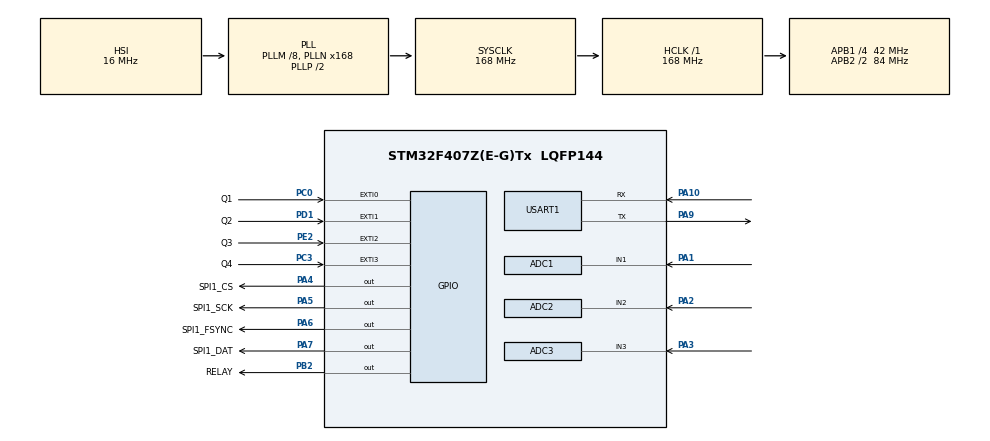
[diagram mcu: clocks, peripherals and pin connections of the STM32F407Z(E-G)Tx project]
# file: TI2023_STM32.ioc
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ADC1.Channel-0\#ChannelRegularConversion=ADC_CHANNEL_1
ADC1.DMAContinuousRequests=ENABLE
ADC1.ExternalTrigConv=ADC_EXTERNALTRIGCONV_T2_CC2
ADC1.NbrOfConversionFlag=1
ADC1.Rank-0\#ChannelRegularConversion=1
ADC1.SamplingTime-0\#ChannelRegularConversion=ADC_SAMPLETIME_3CYCLES
ADC1.master=1
ADC2.Channel-0\#ChannelRegularConversion=ADC_CHANNEL_2
ADC2.DMAContinuousRequests=ENABLE
ADC2.ExternalTrigConv=ADC_EXTERNALTRIGCONV_T2_CC2
ADC2.NbrOfConversionFlag=1
ADC2.Rank-0\#ChannelRegularConversion=1
ADC2.SamplingTime-0\#ChannelRegularConversion=ADC_SAMPLETIME_3CYCLES
ADC3.Channel-0\#ChannelRegularConversion=ADC_CHANNEL_3
ADC3.DMAContinuousRequests=ENABLE
ADC3.ExternalTrigConv=ADC_EXTERNALTRIGCONV_T2_CC2
ADC3.NbrOfConversionFlag=1
ADC3.Rank-0\#ChannelRegularConversion=1
ADC3.SamplingTime-0\#ChannelRegularConversion=ADC_SAMPLETIME_3CYCLES
Dma.ADC1.0.Direction=DMA_PERIPH_TO_MEMORY
Dma.ADC1.0.FIFOMode=DMA_FIFOMODE_DISABLE
Dma.ADC1.0.Instance=DMA2_Stream0
Dma.ADC1.0.MemDataAlignment=DMA_MDATAALIGN_HALFWORD
Dma.ADC1.0.MemInc=DMA_MINC_ENABLE
Dma.ADC1.0.Mode=DMA_CIRCULAR
Dma.ADC1.0.PeriphDataAlignment=DMA_PDATAALIGN_HALFWORD
Dma.ADC1.0.PeriphInc=DMA_PINC_DISABLE
Dma.ADC1.0.Priority=DMA_PRIORITY_LOW
Dma.ADC2.1.Direction=DMA_PERIPH_TO_MEMORY
Dma.ADC2.1.FIFOMode=DMA_FIFOMODE_DISABLE
Dma.ADC2.1.Instance=DMA2_Stream2
Dma.ADC2.1.MemDataAlignment=DMA_MDATAALIGN_HALFWORD
Dma.ADC2.1.MemInc=DMA_MINC_ENABLE
Dma.ADC2.1.Mode=DMA_CIRCULAR
Dma.ADC2.1.PeriphDataAlignment=DMA_PDATAALIGN_HALFWORD
Dma.ADC2.1.PeriphInc=DMA_PINC_DISABLE
Dma.ADC2.1.Priority=DMA_PRIORITY_LOW
Dma.ADC3.2.Direction=DMA_PERIPH_TO_MEMORY
Dma.ADC3.2.FIFOMode=DMA_FIFOMODE_DISABLE
Dma.ADC3.2.Instance=DMA2_Stream1
Dma.ADC3.2.MemDataAlignment=DMA_MDATAALIGN_HALFWORD
Dma.ADC3.2.MemInc=DMA_MINC_ENABLE
Dma.ADC3.2.Mode=DMA_CIRCULAR
Dma.ADC3.2.PeriphDataAlignment=DMA_PDATAALIGN_HALFWORD
Dma.ADC3.2.PeriphInc=DMA_PINC_DISABLE
Dma.ADC3.2.Priority=DMA_PRIORITY_LOW
Dma.Request0=ADC1
Dma.Request1=ADC2
Dma.Request2=ADC3
Mcu.Family=STM32F4
Mcu.Name=STM32F407Z(E-G)Tx
Mcu.Package=LQFP144
NVIC.DMA2_Stream0_IRQn=true\:0\:0\:false\:false\:true\:false\:true\:true
NVIC.DMA2_Stream1_IRQn=true\:0\:0\:false\:false\:true\:false\:true\:true
NVIC.DMA2_Stream2_IRQn=true\:0\:0\:false\:false\:true\:false\:true\:true
NVIC.EXTI0_IRQn=true\:0\:0\:false\:false\:true\:true\:true\:true
NVIC.EXTI1_IRQn=true\:0\:0\:false\:false\:true\:true\:true\:true
NVIC.EXTI2_IRQn=true\:0\:0\:false\:false\:true\:true\:true\:true
NVIC.EXTI3_IRQn=true\:0\:0\:false\:false\:true\:true\:true\:true
NVIC.PriorityGroup=NVIC_PRIORITYGROUP_4
NVIC.USART1_IRQn=true\:0\:0\:false\:false\:true\:true\:true\:true
PA1.Signal=ADCx_IN1
PA10.Mode=Asynchronous
PA10.Signal=USART1_RX
PA13.Mode=Serial_Wire
PA13.Signal=SYS_JTMS-SWDIO
PA14.Mode=Serial_Wire
PA14.Signal=SYS_JTCK-SWCLK
PA2.Signal=ADCx_IN2
PA3.Signal=ADCx_IN3
PA4.GPIO_Label=SPI1_CS
PA4.GPIO_Speed=GPIO_SPEED_FREQ_VERY_HIGH
PA4.PinState=GPIO_PIN_SET
PA4.Signal=GPIO_Output
PA5.GPIO_Label=SPI1_SCK
PA5.GPIO_Speed=GPIO_SPEED_FREQ_VERY_HIGH
PA5.Signal=GPIO_Output
PA6.GPIO_Label=SPI1_FSYNC
PA6.GPIO_Speed=GPIO_SPEED_FREQ_VERY_HIGH
PA6.PinState=GPIO_PIN_SET
PA6.Signal=GPIO_Output
PA7.GPIO_Label=SPI1_DAT
PA7.GPIO_Speed=GPIO_SPEED_FREQ_VERY_HIGH
PA7.Signal=GPIO_Output
PA9.Mode=Asynchronous
PA9.Signal=USART1_TX
PB2.GPIO_Label=RELAY
PB2.Signal=GPIO_Output
PC0.GPIO_Label=Q1
PC0.GPIO_PuPd=GPIO_PULLDOWN
PC0.Signal=GPXTI0
PC14-OSC32_IN.Mode=LSE-External-Oscillator
PC14-OSC32_IN.Signal=RCC_OSC32_IN
PC15-OSC32_OUT.Mode=LSE-External-Oscillator
PC15-OSC32_OUT.Signal=RCC_OSC32_OUT
PC3.GPIO_Label=Q4
PC3.GPIO_PuPd=GPIO_PULLDOWN
PC3.Signal=GPXTI3
PD1.GPIO_Label=Q2
PD1.GPIO_PuPd=GPIO_PULLDOWN
PD1.Signal=GPXTI1
PE2.GPIO_Label=Q3
PE2.GPIO_PuPd=GPIO_PULLDOWN
PE2.Signal=GPXTI2
PH0-OSC_IN.Mode=HSE-External-Oscillator
PH0-OSC_IN.Signal=RCC_OSC_IN
PH1-OSC_OUT.Mode=HSE-External-Oscillator
PH1-OSC_OUT.Signal=RCC_OSC_OUT
ProjectManager.HeapSize=0x200
ProjectManager.StackSize=0x1000
ProjectManager.TargetToolchain=MDK-ARM V5.32
RCC.48MHZClocksFreq_Value=84000000
RCC.AHBFreq_Value=168000000
RCC.APB1CLKDivider=RCC_HCLK_DIV4
RCC.APB1Freq_Value=42000000
RCC.APB1TimFreq_Value=84000000
RCC.APB2CLKDivider=RCC_HCLK_DIV2
RCC.APB2Freq_Value=84000000
RCC.APB2TimFreq_Value=168000000
RCC.CortexFreq_Value=168000000
RCC.HCLKFreq_Value=168000000
RCC.HSE_VALUE=8000000
RCC.HSI_VALUE=16000000
RCC.PLLM=8
RCC.PLLN=168
RCC.SYSCLKFreq_VALUE=168000000
RCC.SYSCLKSource=RCC_SYSCLKSOURCE_PLLCLK
RCC.VCOOutputFreq_Value=336000000
SH.ADCx_IN1.0=ADC1_IN1,IN1
SH.ADCx_IN2.0=ADC2_IN2,IN2
SH.ADCx_IN3.0=ADC3_IN3,IN3
TIM2.AutoReloadPreload=TIM_AUTORELOAD_PRELOAD_ENABLE
TIM2.Channel-PWM\ Generation2\ No\ Output=TIM_CHANNEL_2
TIM5.AutoReloadPreload=TIM_AUTORELOAD_PRELOAD_ENABLE
USART1.VirtualMode=VM_ASYNC
VP_TIM2_VS_ClockSourceINT.Mode=Internal
VP_TIM2_VS_no_output2.Mode=PWM Generation2 No Output
VP_TIM5_VS_ClockSourceINT.Mode=Internal
board=custom

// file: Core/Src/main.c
/* USER CODE BEGIN Header */
/**
  ******************************************************************************
  * @file           : main.c
  * @brief          : Main program body
  ******************************************************************************
  * @attention
  *
  * Copyright (c) 2023 STMicroelectronics.
  * All rights reserved.
  *
  * This software is licensed under terms that can be found in the LICENSE file
  * in the root directory of this software component.
  * If no LICENSE file comes with this software, it is provided AS-IS.
  *
  ******************************************************************************
  */
/* USER CODE END Header */
#include "main.h"
#include "adc.h"
#include "dma.h"
#include "tim.h"
#include "usart.h"
#include "gpio.h"

/* USER CODE BEGIN Includes */
#include "AD9833.h"
#include "USART_HMI.h"
/* USER CODE END Includes */

/* USER CODE BEGIN PTD */
typedef struct
{
    float x;
    float y;
} Point;
/* USER CODE END PTD */

/* USER CODE BEGIN PV */
float a_watch, b_watch, c_watch;
float watch;
bool volatile conv_done = false;
bool enable_interrupt[4] = {false, false, false, false};
uint16_t adc1_values[ADC_DATA_NUM + 4];
uint16_t adc2_values[ADC_DATA_NUM + 4];
uint16_t adc3_values[ADC_DATA_NUM + 4];
volatile uint32_t quadrant_time_stamp[4];
static float tdoa_wanted[4] = {0, 0, 0, 0};

static uint16_t total_steps = 5;
static uint16_t steps = 10;
static uint16_t P_skip_num = 0;
static float MICROPHONE[4][2] = { {HALF_SQUARE, HALF_SQUARE},
                                  {-HALF_SQUARE, HALF_SQUARE},
                                  {-HALF_SQUARE, -HALF_SQUARE},
                                  {HALF_SQUARE, -HALF_SQUARE}};
static float POINT_DIST[4] = {0.0f, 0.0f, 0.0f, 0.0f};
static float CORRECT_POINT_DIST[4] = {0.0f, 0.0f, 0.0f, 0.0f};
static float G_VECTOR[4][2] = {{0.0f, 0.0f}, {0.0f, 0.0f}, {0.0f, 0.0f}, {0.0f, 0.0f}};
volatile uint32_t quadrant_time_stamp[4] = {0, 0, 0, 0};
bool volatile interrupt_dis[4] = {false, false, false, false};
static float pix, piy;
static float mpix, mpiy;
static Point receiver1 = {0.0f, 0.0f};
static Point receiver2 = {HALF_SQUARE * 2, 0.0f};
static Point receiver3 = {HALF_SQUARE * 2, HALF_SQUARE * 2};
int flag = 0;
int tims = 15;
/* USER CODE END PV */

void SystemClock_Config(void);
/* USER CODE BEGIN PFP */
static inline float dist(float p1x, float p1y, float p2x, float p2y);
static inline float norm(float px, float py);
static void Gradient_descent(uint8_t step);
static void Gradient_descent_wrapper(void);
static void Quadrant_Lattice_Indexing(void);
static void Magnet_Positioning(void);
static void Magnet_Indexing(void);
static void Magnet_Mode(void);
static Point calculateSourceLocation(Point receiver1, Point receiver2, Point receiver3, float tdoa1, float tdoa2, float tdoa3);
static uint16_t ADC_Get_Vpp(uint16_t* data);
/* USER CODE END PFP */

int main(void)
{

  /* MCU Configuration--------------------------------------------------------*/

  /* Reset of all peripherals, Initializes the Flash interface and the Systick. */
  HAL_Init();

  /* Configure the system clock */
  SystemClock_Config();

  /* Initialize all configured peripherals */
  MX_GPIO_Init();
  MX_DMA_Init();
  MX_ADC1_Init();
  MX_TIM2_Init();
  MX_USART1_UART_Init();
  MX_ADC2_Init();
  MX_ADC3_Init();
  MX_TIM5_Init();
  /* USER CODE BEGIN 2 */
  HAL_NVIC_DisableIRQ(EXTI1_IRQn);
  HAL_NVIC_DisableIRQ(EXTI2_IRQn);
  HAL_NVIC_DisableIRQ(EXTI3_IRQn);
  HAL_NVIC_DisableIRQ(EXTI0_IRQn);
  __HAL_GPIO_EXTI_CLEAR_IT(GPIO_PIN_1);__HAL_GPIO_EXTI_CLEAR_IT(GPIO_PIN_2);__HAL_GPIO_EXTI_CLEAR_IT(GPIO_PIN_3);__HAL_GPIO_EXTI_CLEAR_IT(GPIO_PIN_0);
  SWITCH_INT_ON;
  RELAY_DELAY;
  UARTHMI_Forget_It();
	UARTHMI_Reset();
  HAL_TIM_Base_Start_IT(&htim2);
	HAL_ADC_Start_DMA(&hadc1, (uint32_t*)adc1_values, ADC_DATA_NUM + 4);
	HAL_ADC_Start_DMA(&hadc2, (uint32_t*)adc2_values, ADC_DATA_NUM + 4);
	HAL_ADC_Start_DMA(&hadc3, (uint32_t*)adc3_values, ADC_DATA_NUM + 4);
	AD9833_WaveSeting_Double(0,0,SIN_WAVE,985);
	HAL_Delay(150);
//		__HAL_GPIO_EXTI_CLEAR_IT(GPIO_PIN_1);__HAL_GPIO_EXTI_CLEAR_IT(GPIO_PIN_2);__HAL_GPIO_EXTI_CLEAR_IT(GPIO_PIN_3);__HAL_GPIO_EXTI_CLEAR_IT(GPIO_PIN_0);
  /* USER CODE END 2 */

  /* Infinite loop */
  while (1)
  {

    /* USER CODE BEGIN 3 */
	  if (sweep_freq)
    {
      htim5.Instance->CNT = 0;
      HAL_TIM_Base_Start(&htim5);
      tims = 15;
      SWITCH_DDS_ON;
      RELAY_DELAY;
      while(1)
      {
        if (htim5.Instance->CNT >= 84000000 && (!sound_trace && !magnet_trace))
        {
    //        AD9833_Default_Set(i * 1000);
          AD9833_WaveSeting_Double(tims * 1000,0,SIN_WAVE,985);
          ++tims;
          if (tims == 21)
          {
            tims = 15;
          }
          htim5.Instance->CNT = 0;
        }
        else if (sound_trace | magnet_trace)
        {
			AD9833_WaveSeting_Double(0,0,SIN_WAVE,985);
          HAL_TIM_Base_Stop(&htim5);
          htim5.Instance->CNT = 0;
          break;
        }

      }

//      AD9833_Set_Amplitude(0);
//	  AD9833_Default_Set(0);
      SWITCH_INT_ON;
      RELAY_DELAY;
      sweep_freq = false;
    }
    else if (sound_trace)
    {
		if ((HAL_GPIO_ReadPin(Q1_GPIO_Port, Q1_Pin) == GPIO_PIN_SET) | (HAL_GPIO_ReadPin(Q2_GPIO_Port, Q2_Pin) == GPIO_PIN_SET) | (HAL_GPIO_ReadPin(Q3_GPIO_Port, Q3_Pin) == GPIO_PIN_SET) | (HAL_GPIO_ReadPin(Q4_GPIO_Port, Q4_Pin) == GPIO_PIN_SET))
		{
			SWITCH_DDS_ON;
			RELAY_DELAY;
			RELAY_DELAY;
			SWITCH_INT_ON;
			RELAY_DELAY;
			RELAY_DELAY;
		}
		else
		{
		printf("page page0\xff\xff\xff");
      __HAL_TIM_SetCounter(&htim5, 0);
      HAL_TIM_Base_Start(&htim5);
		__HAL_GPIO_EXTI_CLEAR_IT(GPIO_PIN_1);
      HAL_NVIC_EnableIRQ(EXTI1_IRQn);
		__HAL_GPIO_EXTI_CLEAR_IT(GPIO_PIN_2);
      HAL_NVIC_EnableIRQ(EXTI2_IRQn);
		__HAL_GPIO_EXTI_CLEAR_IT(GPIO_PIN_3);
      HAL_NVIC_EnableIRQ(EXTI3_IRQn);
		__HAL_GPIO_EXTI_CLEAR_IT(GPIO_PIN_0);
      HAL_NVIC_EnableIRQ(EXTI0_IRQn);
		enable_interrupt[0] = __NVIC_GetEnableIRQ(EXTI0_IRQn);
	  enable_interrupt[1] = __NVIC_GetEnableIRQ(EXTI1_IRQn);
	  enable_interrupt[2] = __NVIC_GetEnableIRQ(EXTI2_IRQn);
	  enable_interrupt[3] = __NVIC_GetEnableIRQ(EXTI3_IRQn);
		if ((quadrant_time_stamp[0] < DELAY_MIN) && (!enable_interrupt[0]))
	  {
		  HAL_NVIC_EnableIRQ(EXTI0_IRQn);
		enable_interrupt[0] = 1;
	  }
	  if ((quadrant_time_stamp[1] < DELAY_MIN) && (!enable_interrupt[1]))
	  {
		  HAL_NVIC_EnableIRQ(EXTI1_IRQn);
		enable_interrupt[1] = 1;
	  }
	  if ((quadrant_time_stamp[2] < DELAY_MIN) && (!enable_interrupt[2]))
	  {
		  HAL_NVIC_EnableIRQ(EXTI2_IRQn);
		enable_interrupt[2] = 1;
	  }
	  if ((quadrant_time_stamp[3] < DELAY_MIN) && (!enable_interrupt[3]))
	  {
		  HAL_NVIC_EnableIRQ(EXTI3_IRQn);
		enable_interrupt[3] = 1;
	  }
      while (1)
      {
		  enable_interrupt[0] = __NVIC_GetEnableIRQ(EXTI0_IRQn);
		  enable_interrupt[1] = __NVIC_GetEnableIRQ(EXTI1_IRQn);
		  enable_interrupt[2] = __NVIC_GetEnableIRQ(EXTI2_IRQn);
		  enable_interrupt[3] = __NVIC_GetEnableIRQ(EXTI3_IRQn);
        if ((!(enable_interrupt[0] | enable_interrupt[1] | enable_interrupt[2] | enable_interrupt[3]))) //
        {
          Quadrant_Lattice_Indexing();
//			for (uint16_t i = 0; i < 4; ++i)
//			{
//				quadrant_time_stamp[i] = 0;
//			}
//          HAL_Delay(2000);
          break;
        }
      }
      HAL_TIM_Base_Stop(&htim5);
		}
      sound_trace = false;
    }
    else if (magnet_trace)
    {
      Magnet_Mode();
      magnet_trace = false;
    }

  }
  /* USER CODE END 3 */
}

void SystemClock_Config(void)
{
  RCC_OscInitTypeDef RCC_OscInitStruct = {0};
  RCC_ClkInitTypeDef RCC_ClkInitStruct = {0};

  /** Configure the main internal regulator output voltage
  */
  __HAL_RCC_PWR_CLK_ENABLE();
  __HAL_PWR_VOLTAGESCALING_CONFIG(PWR_REGULATOR_VOLTAGE_SCALE1);

  /** Initializes the RCC Oscillators according to the specified parameters
  * in the RCC_OscInitTypeDef structure.
  */
  RCC_OscInitStruct.OscillatorType = RCC_OSCILLATORTYPE_HSI;
  RCC_OscInitStruct.HSIState = RCC_HSI_ON;
  RCC_OscInitStruct.HSICalibrationValue = RCC_HSICALIBRATION_DEFAULT;
  RCC_OscInitStruct.PLL.PLLState = RCC_PLL_ON;
  RCC_OscInitStruct.PLL.PLLSource = RCC_PLLSOURCE_HSI;
  RCC_OscInitStruct.PLL.PLLM = 8;
  RCC_OscInitStruct.PLL.PLLN = 168;
  RCC_OscInitStruct.PLL.PLLP = RCC_PLLP_DIV2;
  RCC_OscInitStruct.PLL.PLLQ = 4;
  if (HAL_RCC_OscConfig(&RCC_OscInitStruct) != HAL_OK)
  {
    Error_Handler();
  }

  /** Initializes the CPU, AHB and APB buses clocks
  */
  RCC_ClkInitStruct.ClockType = RCC_CLOCKTYPE_HCLK|RCC_CLOCKTYPE_SYSCLK
                              |RCC_CLOCKTYPE_PCLK1|RCC_CLOCKTYPE_PCLK2;
  RCC_ClkInitStruct.SYSCLKSource = RCC_SYSCLKSOURCE_PLLCLK;
  RCC_ClkInitStruct.AHBCLKDivider = RCC_SYSCLK_DIV1;
  RCC_ClkInitStruct.APB1CLKDivider = RCC_HCLK_DIV4;
  RCC_ClkInitStruct.APB2CLKDivider = RCC_HCLK_DIV2;

  if (HAL_RCC_ClockConfig(&RCC_ClkInitStruct, FLASH_LATENCY_5) != HAL_OK)
  {
    Error_Handler();
  }
}

/* USER CODE BEGIN 4 */
static inline float dist(float p1x, float p1y, float p2x, float p2y)
{
  return sqrtf((p1x - p2x) * (p1x - p2x) + (p1y - p2y) * (p1y - p2y));
}

static inline float norm(float px, float py)
{
  return sqrtf(px * px + py * py);
}

static void Gradient_descent(uint8_t step)
{
  float sum = 0.0f, temp = 0.0f;
  float gradients_list[4][2] = {{0.0f, 0.0f}, {0.0f, 0.0f}, {0.0f, 0.0f}, {0.0f, 0.0f}};
  for (uint8_t i = 0; i < 4; ++i)
  {
    POINT_DIST[i] = (dist(pix, piy, MICROPHONE[i][0], MICROPHONE[i][1]) - dist(pix, piy, MICROPHONE[P_skip_num][0], MICROPHONE[P_skip_num][1])) - CORRECT_POINT_DIST[i] / CLK_FREQ * V_BOARD;
    sum += fabsf(POINT_DIST[i]);
  }
  for (uint8_t i = 0; i < 4; ++i)
  {
    POINT_DIST[i] /= sum;
    temp = steps * (1.0f - logf(1.0f + expf(step / 5.0f - 10.0f)) / 0.65f);
    gradients_list[i][0] = G_VECTOR[i][0] * POINT_DIST[i] * temp;
    gradients_list[i][1] = G_VECTOR[i][1] * POINT_DIST[i] * temp;
    pix += gradients_list[i][0];
    piy += gradients_list[i][1];
  }
  if (pix > LENGTH / 2)
  {
	pix = 125;
  }
  else if (pix < -LENGTH / 2)
  {
	pix = -125;
  }
  if (piy > LENGTH / 2)
  {
	piy = 125;
  }
  else if (piy < -LENGTH / 2)
  {
	piy = -125;
  }
}

static void Gradient_descent_wrapper(void)
{
	float norm_vec;
  for (uint8_t i = 0; i < 4; ++i)
  {
    G_VECTOR[i][0] = MICROPHONE[i][0] - MICROPHONE[P_skip_num][0];
    G_VECTOR[i][1] = MICROPHONE[i][1] - MICROPHONE[P_skip_num][1];
    if (i != P_skip_num)
    {
		norm_vec = norm(G_VECTOR[i][0], G_VECTOR[i][1]);
      G_VECTOR[i][0] /= norm_vec * sqrtf(3.0f);
      G_VECTOR[i][1] /= norm_vec * sqrtf(3.0f);
    }
  }
  for (uint8_t i = 0; i < total_steps; ++i)
  {
    Gradient_descent(i);
  }
}

static void Quadrant_Lattice_Indexing(void)
{
  int8_t x_index, y_index;
	float temp_x_y;
  uint32_t min = quadrant_time_stamp[0];
	P_skip_num = 0;
  for (uint8_t i = 1; i < 4; ++i)
  {
    if (quadrant_time_stamp[i] < min)
    {
      P_skip_num = i;
      min = quadrant_time_stamp[i];
    }
  }
  pix = MICROPHONE[P_skip_num][0] * LENGTH / HALF_SQUARE / 4;
  piy = MICROPHONE[P_skip_num][1] * LENGTH / HALF_SQUARE / 4;
  for (uint8_t i = 0; i < 4; ++i)
  {
	  tdoa_wanted[i] = (float)quadrant_time_stamp[i] / CLK_FREQ;
  }
  if (P_skip_num == 1)
  {
	 Point pinit = calculateSourceLocation(receiver1, receiver2, receiver3, tdoa_wanted[0], tdoa_wanted[1], tdoa_wanted[2]);
	  pix = pinit.x;
	  piy = pinit.y;
	  pix -= HALF_SQUARE;
		piy -= HALF_SQUARE;
	  pix = -pix;
	  piy = -piy;
  }
  else if (P_skip_num == 2)
  {
	 Point pinit = calculateSourceLocation(receiver1, receiver2, receiver3, tdoa_wanted[1], tdoa_wanted[2], tdoa_wanted[3]);
	  pix = pinit.x;
	  piy = pinit.y;
	  pix -= HALF_SQUARE;
		piy -= HALF_SQUARE;
	  pix = -pix;
	temp_x_y = pix;
	  pix = piy;
	  piy = temp_x_y;
  }
  else if (P_skip_num == 0)
  {
	 Point pinit = calculateSourceLocation(receiver1, receiver2, receiver3, tdoa_wanted[3], tdoa_wanted[0], tdoa_wanted[1]);
	  pix = pinit.x;
	  piy = pinit.y;
	  pix -= HALF_SQUARE;
		piy -= HALF_SQUARE;
	  piy = -piy;
	temp_x_y = pix;
	  pix = piy;
	  piy = temp_x_y;
  }
  else
	{
	  Point pinit = calculateSourceLocation(receiver1, receiver2, receiver3, tdoa_wanted[2], tdoa_wanted[3], tdoa_wanted[0]);
	  pix = pinit.x;
	  piy = pinit.y;
	  pix -= HALF_SQUARE;
	  piy -= HALF_SQUARE;
  }
  if (pix > LENGTH / 2)
  {
	pix = 125;
  }
  else if (pix < -LENGTH / 2)
  {
	pix = -125;
  }
  if (piy > LENGTH / 2)
  {
	piy = 125;
  }
  else if (piy < -LENGTH / 2)
  {
	piy = -125;
  }
  printf("t26.txt=\"%d,%d\"\xff\xff\xff", (int16_t)(pix), (int16_t)(piy));
  for (uint8_t i = 0; i < 4; ++i)
  {
    CORRECT_POINT_DIST[i] = (float)(quadrant_time_stamp[i] - min) * V_BOARD / CLK_FREQ;
  }
//  Gradient_descent_wrapper();
  pix += WIDTH / 2;
  piy = -piy;
  piy += LENGTH / 2;
  x_index = (uint8_t)(pix / LATTICE_6_UNIT) + 1;
  y_index = (uint8_t)(piy / LATTICE_6_UNIT) + 1;
  printf("page 0\xff\xff\xff");
  printf("t25.txt=\"(%c%c,%02d%02d)\"\xff\xff\xff", ((x_index * 2 - 1) | 0x40), ((x_index * 2) | 0x40), y_index * 2 - 1, y_index * 2);
  printf("fill %d,%d,%d,%d,BLUE\xff\xff\xff", (x_index - 1) * LATTICE_6_SQUARE_UH + LATTICE_12_SQUARE_UH + 1, (y_index - 1) * LATTICE_6_SQUARE_UH + LATTICE_12_SQUARE_UH + 1, LATTICE_6_SQUARE_UH, LATTICE_6_SQUARE_UH);
  x_index = (uint8_t)(pix / LATTICE_12_UNIT) + 1;
  y_index = (uint8_t)(piy / LATTICE_12_UNIT) + 1;
  printf("fill %d,%d,%d,%d,BROWN\xff\xff\xff", x_index * LATTICE_12_SQUARE_UH, y_index * LATTICE_12_SQUARE_UH, LATTICE_12_SQUARE_UH, LATTICE_12_SQUARE_UH);
}

void Configuration_Init(void)
{
  HAL_TIM_Base_Stop_IT(&htim5);
  __HAL_TIM_SetCounter(&htim5, 0);
  memset(quadrant_time_stamp, 0x00000000, sizeof(uint32_t) * 4);
  __NVIC_EnableIRQ(EXTI0_IRQn);
  __NVIC_EnableIRQ(EXTI1_IRQn);
  __NVIC_EnableIRQ(EXTI2_IRQn);
  __NVIC_EnableIRQ(EXTI3_IRQn);
  __NVIC_EnableIRQ(TIM5_IRQn);
  htim5.State = HAL_TIM_STATE_BUSY;
  __HAL_TIM_ENABLE_IT(&htim5, TIM_IT_UPDATE);
  __HAL_TIM_ENABLE(&htim5);
}

static void Magnet_Positioning(void)
{
  //mpix, mpiy
	uint8_t x_index, y_index;
	uint32_t tim_cnt = htim2.Instance->CNT;
	x_index = tim_cnt % 12 + 1;
	y_index = (tim_cnt / 12 + 1) % 12;
	mpix = x_index * LATTICE_12_UNIT - LENGTH / 2 - 12.5;
	mpiy = y_index * LATTICE_12_UNIT - WIDTH / 2 - 12.5;
}

static void Magnet_Indexing(void)
{
  uint8_t x_index, y_index;
  mpix += WIDTH / 2;
  mpiy = -mpiy;
  mpiy += LENGTH / 2;
  x_index = (uint8_t)(mpix / LATTICE_12_UNIT) + 1;
  y_index = (uint8_t)(mpiy / LATTICE_12_UNIT) + 1;
  printf("page 0\xff\xff\xff");
  printf("t25.txt=\"(%c,%02d)\"\xff\xff\xff", (x_index | 0x40), y_index);
  printf("t26.txt=\"(%d,%d)\"\xff\xff\xff", (int16_t)mpix, (int16_t)mpiy);
  printf("fill %d,%d,%d,%d,BROWN\xff\xff\xff", x_index * LATTICE_12_SQUARE_UH, y_index * LATTICE_12_SQUARE_UH, LATTICE_12_SQUARE_UH, LATTICE_12_SQUARE_UH);
}

static void Magnet_Mode(void)
{
//	AD9833_Set_Amplitude(127);
//  AD9833_Default_Set(DEFAULT_DDS_FREQ);
//	SWITCH_DDS_ON;
//	htim2.Instance->ARR = 144;
//	htim2.Instance->EGR = TIM_EGR_UG;
//	HAL_TIM_Base_Start(&htim2);
//	RELAY_DELAY;
//	AD9833_WaveSeting_Double(15000,0,SIN_WAVE,985);
//  HAL_Delay(50);
//  ADC_Get_Values(DEFAULT_SAMPLE_RATE);
//  Magnet_Positioning();
//  Magnet_Indexing();
//	AD9833_WaveSeting_Double(0,0,SIN_WAVE,985);
//	SWITCH_INT_ON;
//	RELAY_DELAY;
}

static Point calculateSourceLocation(Point receiver1, Point receiver2, Point receiver3, float tdoa1, float tdoa2, float tdoa3)
{
    // ʹ��FANG�㷨������Դ��λ��
    float distance1 = V_BOARD * tdoa1;
    float distance2 = V_BOARD * tdoa2;
    float distance3 = V_BOARD * tdoa3;
	a_watch = tdoa2 - tdoa1;
	b_watch = tdoa3 - tdoa1;

    float R21 = distance2 - distance1;
    float R31 = distance3 - distance1;
    float g = ((R31*receiver2.x)/R21 - receiver3.x)/receiver3.y;
    float h = (receiver3.x*receiver3.x+receiver3.y*receiver3.y-R31*R31+R31*R21*(1-(receiver2.x*receiver2.x/(R21*R21))))/(2*receiver3.y);
    float d = -((1-(receiver2.x/R21)*(receiver2.x/R21))+g*g);
    float e = receiver2.x*(1-(receiver2.x/R21)*(receiver2.x/R21))-2*g*h;
    float f = (R21*R21/4)*(1-(receiver2.x/R21)*(receiver2.x/R21))*(1-(receiver2.x/R21)*(receiver2.x/R21))-h*h;
    float x1 = (-e-sqrtf(e*e-4*d*f))/(2*d);
	watch = e*e-4*d*f;
    float y1 = g*x1+h;
    float x2 = (-e+sqrtf(e*e-4*d*f))/(2*d);
    float y2 = g*x2+h;
    Point source;
    float t1 = (R21*R21-receiver2.x*receiver2.x+2*receiver2.x*x1+2*R21*sqrtf(x1*x1+y1*y1));
    float t2 = (R21*R21-receiver2.x*receiver2.x+2*receiver2.x*x2+2*R21*sqrtf(x2*x2+y2*y2));
    if(t1 < 0) t1 = -t1;
    if(t2 < 0) t2 = -t2;
    if(t1 < t2){
        source.x = x1;
        source.y = y1;
    }
    else{
        source.x = x2;
        source.y = y2;
    }
    return source;
}

uint16_t ADC_Get_Vpp(uint16_t* data)
{
  uint16_t max = data[0];
  uint16_t min = data[0];
  for(int i = 0; i < ADC_DATA_NUM; ++i){
      if(data[i] > max) {max = data[i];}
      else if(data[i] < min) {min = data[i];}
  }
  return max - min;
}
/* USER CODE END 4 */

void Error_Handler(void)
{
  __disable_irq();
  while (1)
  {
  }
}
